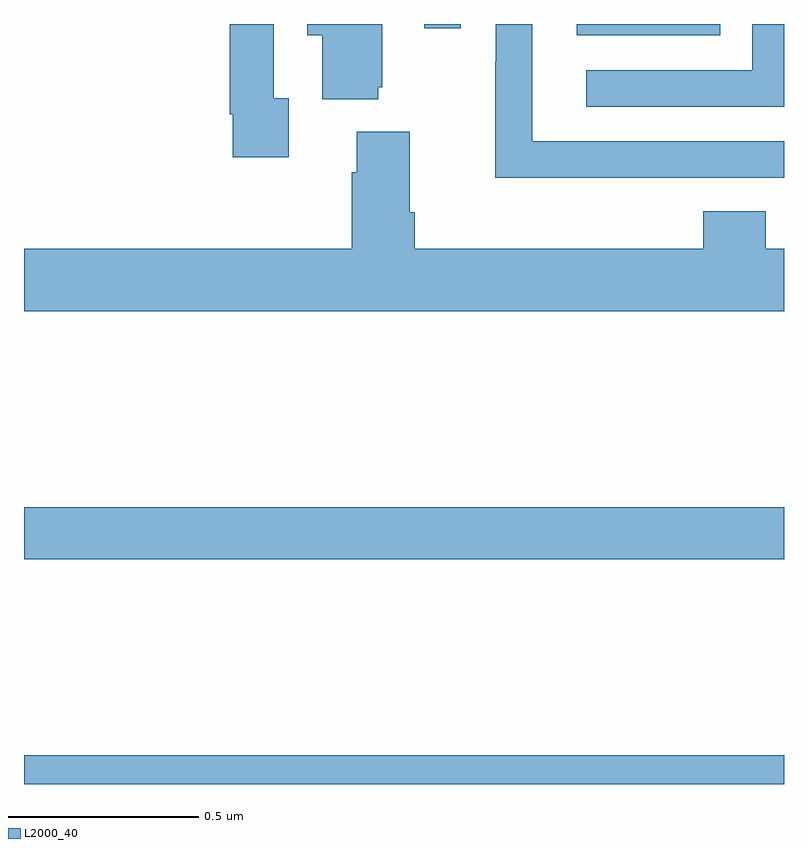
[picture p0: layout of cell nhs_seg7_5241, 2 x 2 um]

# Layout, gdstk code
import gdstk
lib = gdstk.Library(unit=1e-6, precision=1e-09)
def R(c, l, rs):  # rectangles x0, y0, x1, y1
    for r in rs: c.add(gdstk.rectangle(r[:2], r[2:], *l))
def P(c, l, *ps):  # polygons
    for p in ps: c.add(gdstk.Polygon(p, *l))
L2000_40 = (2000, 40)

nhs_seg7_5241 = lib.new_cell('nhs_seg7_5241')
R(nhs_seg7_5241, L2000_40, [(183,1038,185,1038.076), (183,1038.592,185,1038.728), (184.454,1039.97,184.832,1040), (184.053,1039.989,184.149,1040)])
P(nhs_seg7_5241, L2000_40, [(184.703,1039.596),(185,1039.596),(185,1039.692),(184.338,1039.692),(184.338,1040),(184.242,1040),(184.242,1039.901),(184.24,1039.901),(184.24,1039.595),(184.703,1039.595)],
  [(185,1040),(184.917,1040),(184.917,1039.878),(184.479,1039.878),(184.479,1039.782),(185,1039.782)],
  [(183.697,1039.805),(183.657,1039.805),(183.657,1040),(183.541,1040),(183.541,1039.762),(183.549,1039.762),(183.549,1039.65),(183.697,1039.65)],
  [(183.932,1039.833),(183.943,1039.833),(183.943,1040),(183.746,1040),(183.746,1039.97),(183.785,1039.97),(183.785,1039.802),(183.932,1039.802)],
  [(185,1039.408),(184.952,1039.408),(184.952,1039.507),(184.787,1039.507),(184.787,1039.408),(184.028,1039.408),(184.028,1039.504),(184.015,1039.504),(184.015,1039.717),(183.875,1039.717),(183.875,1039.61),(183.863,1039.61),(183.863,1039.408),(183,1039.408),(183,1039.244),(185,1039.244)])

lib.write_gds('nhs_seg7_5241.gds')
